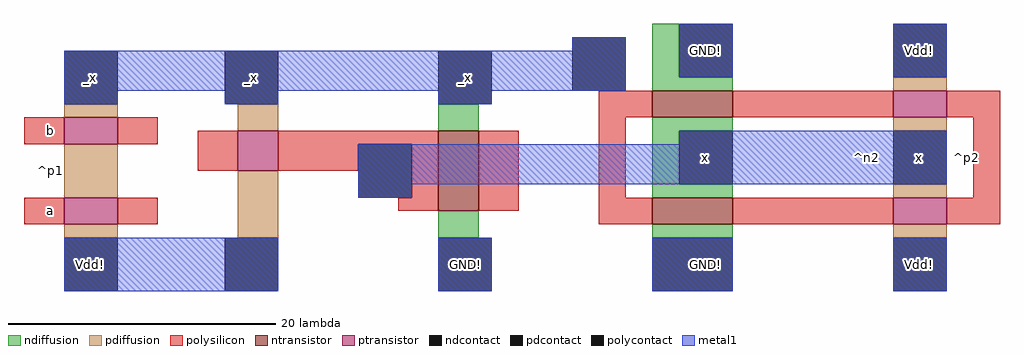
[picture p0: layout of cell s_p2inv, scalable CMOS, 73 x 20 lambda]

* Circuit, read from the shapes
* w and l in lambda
.subckt s_p2inv GND! Vdd! _x a b x
M1 _x x GND! VSUBS nfet w=3 l=6
M2 x _x GND! VSUBS nfet w=6 l=2 m=2
M3 n1 a Vdd! NWELL pfet w=4 l=2
M4 _x b n1 NWELL pfet w=4 l=2
M5 _x x Vdd! NWELL pfet w=3 l=3
M6 x _x Vdd! NWELL pfet w=4 l=2 m=2
.ends

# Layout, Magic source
magic
tech scmos
<< ndiffusion >>
rect 132 83 134 87
rect 132 82 138 83
rect 116 79 119 81
rect 132 79 138 80
rect 132 75 134 79
rect 132 74 138 75
rect 116 71 119 73
rect 132 71 138 72
<< pdiffusion >>
rect 88 80 92 81
rect 101 79 104 81
rect 150 82 154 83
rect 88 74 92 78
rect 88 71 92 72
rect 101 71 104 76
rect 150 79 154 80
rect 150 74 154 75
rect 150 71 154 72
<< ntransistor >>
rect 132 80 138 82
rect 116 73 119 79
rect 132 72 138 74
<< ptransistor >>
rect 88 78 92 80
rect 150 80 154 82
rect 101 76 104 79
rect 88 72 92 74
rect 150 72 154 74
<< polysilicon >>
rect 85 78 88 80
rect 92 78 95 80
rect 128 80 132 82
rect 138 80 150 82
rect 154 80 158 82
rect 98 76 101 79
rect 104 78 116 79
rect 104 76 110 78
rect 85 72 88 74
rect 92 72 95 74
rect 114 74 116 78
rect 113 73 116 74
rect 119 73 122 79
rect 128 74 130 80
rect 156 74 158 80
rect 128 72 132 74
rect 138 72 150 74
rect 154 72 158 74
<< ndcontact >>
rect 116 81 120 85
rect 134 83 138 87
rect 134 75 138 79
rect 116 67 120 71
rect 132 67 138 71
<< pdcontact >>
rect 88 81 92 85
rect 100 81 104 85
rect 150 83 154 87
rect 150 75 154 79
rect 88 67 92 71
rect 100 67 104 71
rect 150 67 154 71
<< polycontact >>
rect 126 82 130 86
rect 110 74 114 78
<< metal1 >>
rect 126 85 130 86
rect 88 82 130 85
rect 134 83 138 87
rect 150 83 154 87
rect 88 81 92 82
rect 100 81 104 82
rect 116 81 120 82
rect 134 78 154 79
rect 110 75 154 78
rect 110 74 114 75
rect 88 67 104 71
rect 116 67 120 71
rect 132 67 138 71
rect 150 67 154 71
<< labels >>
rlabel space 153 66 158 88 3 ^p2
rlabel space 137 65 159 89 3 ^n2
rlabel polysilicon 87 73 87 73 3 a
rlabel polysilicon 87 79 87 79 3 b
rlabel space 85 66 89 86 7 ^p1
rlabel ndcontact 136 69 136 69 1 GND!
rlabel ndcontact 136 85 136 85 5 GND!
rlabel pdcontact 152 77 152 77 1 x
rlabel ndcontact 136 77 136 77 1 x
rlabel pdcontact 152 85 152 85 5 Vdd!
rlabel pdcontact 152 69 152 69 1 Vdd!
rlabel ndcontact 118 69 118 69 1 GND!
rlabel ndcontact 118 83 118 83 5 _x
rlabel pdcontact 102 83 102 83 4 _x
rlabel pdcontact 90 69 90 69 1 Vdd!
rlabel pdcontact 90 83 90 83 1 _x
<< end >>
